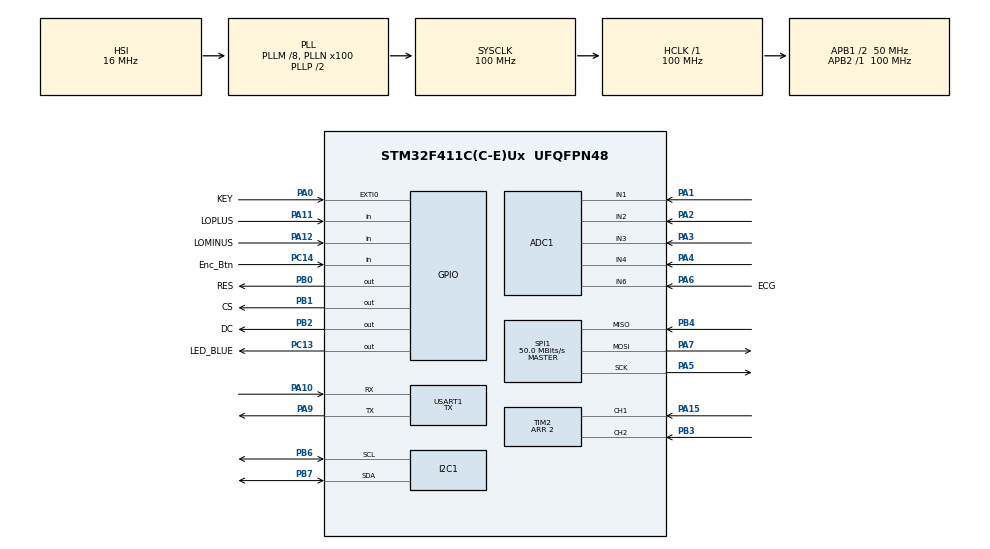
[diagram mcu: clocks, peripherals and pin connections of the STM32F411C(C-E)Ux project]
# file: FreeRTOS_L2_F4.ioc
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ADC1.Channel-0\#ChannelRegularConversion=ADC_CHANNEL_6
ADC1.Channel-11\#ChannelInjectedConversion=ADC_CHANNEL_1
ADC1.Channel-12\#ChannelInjectedConversion=ADC_CHANNEL_2
ADC1.Channel-13\#ChannelInjectedConversion=ADC_CHANNEL_3
ADC1.Channel-14\#ChannelInjectedConversion=ADC_CHANNEL_4
ADC1.ContinuousConvMode=DISABLE
ADC1.DMAContinuousRequests=DISABLE
ADC1.InjNumberOfConversion=4
ADC1.InjectedOffset-11\#ChannelInjectedConversion=0
ADC1.InjectedOffset-12\#ChannelInjectedConversion=0
ADC1.InjectedOffset-13\#ChannelInjectedConversion=0
ADC1.InjectedOffset-14\#ChannelInjectedConversion=0
ADC1.InjectedRank-11\#ChannelInjectedConversion=1
ADC1.InjectedRank-12\#ChannelInjectedConversion=2
ADC1.InjectedRank-13\#ChannelInjectedConversion=3
ADC1.InjectedRank-14\#ChannelInjectedConversion=4
ADC1.NbrOfConversion=1
ADC1.NbrOfConversionFlag=1
ADC1.Rank-0\#ChannelRegularConversion=1
ADC1.SamplingTime-0\#ChannelRegularConversion=ADC_SAMPLETIME_3CYCLES
ADC1.SamplingTime-11\#ChannelInjectedConversion=ADC_SAMPLETIME_3CYCLES
ADC1.SamplingTime-12\#ChannelInjectedConversion=ADC_SAMPLETIME_3CYCLES
ADC1.SamplingTime-13\#ChannelInjectedConversion=ADC_SAMPLETIME_3CYCLES
ADC1.SamplingTime-14\#ChannelInjectedConversion=ADC_SAMPLETIME_3CYCLES
ADC1.ScanConvMode=ENABLE
ADC1.master=1
FREERTOS.Queues01=QueueEN,8,uint8_t,0,Dynamic,NULL,NULL;QueueADC,20,uint16_t,0,Dynamic,NULL,NULL
FREERTOS.Tasks01=ReadEncoderTask,24,256,StartReadEncoderTask,Default,NULL,Dynamic,NULL,NULL;ReadADCTask,24,256,StartReadADCTask,Default,NULL,Dynamic,NULL,NULL;DisplayTask,24,256,StartDisplayTask,Default,NULL,Dynamic,NULL,NULL;MLX90614Task,24,128,StartMLX90614Task,Default,NULL,Dynamic,NULL,NULL;ECGTask,24,128,StartECGTask,Default,NULL,Dynamic,NULL,NULL
FREERTOS.configUSE_NEWLIB_REENTRANT=1
I2C1.I2C_Mode=I2C_Standard
Mcu.Family=STM32F4
Mcu.Name=STM32F411C(C-E)Ux
Mcu.Package=UFQFPN48
NVIC.EXTI0_IRQn=true\:5\:0\:false\:false\:true\:true\:true\:true\:true
NVIC.PriorityGroup=NVIC_PRIORITYGROUP_4
NVIC.TIM5_IRQn=true\:15\:0\:false\:false\:true\:false\:false\:true\:true
NVIC.TimeBase=TIM5_IRQn
NVIC.TimeBaseIP=TIM5
PA0-WKUP.GPIO_Label=KEY
PA0-WKUP.Signal=GPXTI0
PA1.Signal=ADCx_IN1
PA10.Mode=Asynchronous
PA10.Signal=USART1_RX
PA11.GPIO_Label=LOPLUS
PA11.Signal=GPIO_Input
PA12.GPIO_Label=LOMINUS
PA12.Signal=GPIO_Input
PA13.Mode=Serial_Wire
PA13.Signal=SYS_JTMS-SWDIO
PA14.Mode=Serial_Wire
PA14.Signal=SYS_JTCK-SWCLK
PA15.Signal=S_TIM2_CH1_ETR
PA2.Signal=ADCx_IN2
PA3.Signal=ADCx_IN3
PA4.Signal=ADCx_IN4
PA5.Mode=Full_Duplex_Master
PA5.Signal=SPI1_SCK
PA6.GPIO_Label=ECG
PA6.Signal=ADCx_IN6
PA7.Mode=Full_Duplex_Master
PA7.Signal=SPI1_MOSI
PA9.Mode=Asynchronous
PA9.Signal=USART1_TX
PB0.GPIO_Label=RES
PB0.Signal=GPIO_Output
PB1.GPIO_Label=CS
PB1.Signal=GPIO_Output
PB2.GPIO_Label=DC
PB2.Signal=GPIO_Output
PB3.Signal=S_TIM2_CH2
PB4.Mode=Full_Duplex_Master
PB4.Signal=SPI1_MISO
PB6.Mode=I2C
PB6.Signal=I2C1_SCL
PB7.Mode=I2C
PB7.Signal=I2C1_SDA
PC13-ANTI_TAMP.GPIO_Label=LED_BLUE
PC13-ANTI_TAMP.Signal=GPIO_Output
PC14-OSC32_IN.GPIO_Label=Enc_Btn
PC14-OSC32_IN.Signal=GPIO_Input
ProjectManager.HeapSize=0x200
ProjectManager.StackSize=0x400
ProjectManager.TargetToolchain=STM32CubeIDE
RCC.48MHZClocksFreq_Value=50000000
RCC.AHBFreq_Value=100000000
RCC.APB1CLKDivider=RCC_HCLK_DIV2
RCC.APB1Freq_Value=50000000
RCC.APB1TimFreq_Value=100000000
RCC.APB2Freq_Value=100000000
RCC.APB2TimFreq_Value=100000000
RCC.CortexFreq_Value=100000000
RCC.HCLKFreq_Value=100000000
RCC.HSE_VALUE=25000000
RCC.HSI_VALUE=16000000
RCC.LSE_VALUE=32768
RCC.PLLM=8
RCC.PLLN=100
RCC.SYSCLKFreq_VALUE=100000000
RCC.SYSCLKSource=RCC_SYSCLKSOURCE_PLLCLK
RCC.VCOOutputFreq_Value=200000000
SH.ADCx_IN1.0=ADC1_IN1,IN1
SH.ADCx_IN2.0=ADC1_IN2,IN2
SH.ADCx_IN3.0=ADC1_IN3,IN3
SH.ADCx_IN4.0=ADC1_IN4,IN4
SH.ADCx_IN6.0=ADC1_IN6,IN6
SH.S_TIM2_CH1_ETR.0=TIM2_CH1,Encoder_Interface
SH.S_TIM2_CH2.0=TIM2_CH2,Encoder_Interface
SPI1.BaudRatePrescaler=SPI_BAUDRATEPRESCALER_2
SPI1.CalculateBaudRate=50.0 MBits/s
SPI1.Direction=SPI_DIRECTION_2LINES
SPI1.Mode=SPI_MODE_MASTER
SPI1.VirtualType=VM_MASTER
TIM2.EncoderMode=TIM_ENCODERMODE_TI1
TIM2.IC1Filter=0
TIM2.IC2Filter=0
TIM2.Period=2
USART1.Mode=MODE_TX
USART1.VirtualMode=VM_ASYNC
VP_FREERTOS_VS_CMSIS_V2.Mode=CMSIS_V2
VP_SYS_VS_tim5.Mode=TIM5
board=custom

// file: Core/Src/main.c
/* USER CODE BEGIN Header */
/**
 ******************************************************************************
 * @file           : main.c
 * @brief          : Main program body
 ******************************************************************************
 * @attention
 *
 * Copyright (c) 2023 STMicroelectronics.
 * All rights reserved.
 *
 * This software is licensed under terms that can be found in the LICENSE file
 * in the root directory of this software component.
 * If no LICENSE file comes with this software, it is provided AS-IS.
 *
 ******************************************************************************
 */
/* USER CODE END Header */
#include "main.h"
#include "cmsis_os.h"
#include "adc.h"
#include "i2c.h"
#include "spi.h"
#include "tim.h"
#include "usart.h"
#include "gpio.h"

/* USER CODE BEGIN PD */
void Task_action(char ms);
/* USER CODE END PD */

/* USER CODE BEGIN PV */
osStatus_t r_state;
sht3x_handle_t handle = { .i2c_handle = &hi2c1, .device_address =
SHT3X_I2C_DEVICE_ADDRESS_ADDR_PIN_LOW }; // handler for humiditi and temperature
/* USER CODE END PV */

void SystemClock_Config(void);
void MX_FREERTOS_Init(void);

int main(void)
{

  /* MCU Configuration--------------------------------------------------------*/

  /* Reset of all peripherals, Initializes the Flash interface and the Systick. */
  HAL_Init();

  /* Configure the system clock */
  SystemClock_Config();

  /* Initialize all configured peripherals */
  MX_GPIO_Init();
  MX_USART1_UART_Init();
  MX_TIM2_Init();
  MX_SPI1_Init();
  MX_I2C1_Init();
  MX_ADC1_Init();
  /* USER CODE BEGIN 2 */
	RetargetInit(&huart1);

	initMLX90614(&hi2c1, MLX90614_DEFAULT_SA);

	if (HAL_OK != HAL_TIM_Encoder_Start(&htim2, TIM_CHANNEL_ALL))
		Error_Handler();

	if (HAL_OK != ST7735_Init())
		Error_Handler();

	if (!sht3x_init(&handle))
		Error_Handler();

//	HAL_ADCEx_Calibration_Start(&hadc1);

  /* USER CODE END 2 */

  /* Init scheduler */
  osKernelInitialize();  /* Call init function for freertos objects (in freertos.c) */
  MX_FREERTOS_Init();

  /* Start scheduler */
  osKernelStart();

  /* We should never get here as control is now taken by the scheduler */
  /* Infinite loop */
	while (1) {

	}
}

void SystemClock_Config(void)
{
  RCC_OscInitTypeDef RCC_OscInitStruct = {0};
  RCC_ClkInitTypeDef RCC_ClkInitStruct = {0};

  /** Configure the main internal regulator output voltage
  */
  __HAL_RCC_PWR_CLK_ENABLE();
  __HAL_PWR_VOLTAGESCALING_CONFIG(PWR_REGULATOR_VOLTAGE_SCALE1);

  /** Initializes the RCC Oscillators according to the specified parameters
  * in the RCC_OscInitTypeDef structure.
  */
  RCC_OscInitStruct.OscillatorType = RCC_OSCILLATORTYPE_HSI;
  RCC_OscInitStruct.HSIState = RCC_HSI_ON;
  RCC_OscInitStruct.HSICalibrationValue = RCC_HSICALIBRATION_DEFAULT;
  RCC_OscInitStruct.PLL.PLLState = RCC_PLL_ON;
  RCC_OscInitStruct.PLL.PLLSource = RCC_PLLSOURCE_HSI;
  RCC_OscInitStruct.PLL.PLLM = 8;
  RCC_OscInitStruct.PLL.PLLN = 100;
  RCC_OscInitStruct.PLL.PLLP = RCC_PLLP_DIV2;
  RCC_OscInitStruct.PLL.PLLQ = 4;
  if (HAL_RCC_OscConfig(&RCC_OscInitStruct) != HAL_OK)
  {
    Error_Handler();
  }

  /** Initializes the CPU, AHB and APB buses clocks
  */
  RCC_ClkInitStruct.ClockType = RCC_CLOCKTYPE_HCLK|RCC_CLOCKTYPE_SYSCLK
                              |RCC_CLOCKTYPE_PCLK1|RCC_CLOCKTYPE_PCLK2;
  RCC_ClkInitStruct.SYSCLKSource = RCC_SYSCLKSOURCE_PLLCLK;
  RCC_ClkInitStruct.AHBCLKDivider = RCC_SYSCLK_DIV1;
  RCC_ClkInitStruct.APB1CLKDivider = RCC_HCLK_DIV2;
  RCC_ClkInitStruct.APB2CLKDivider = RCC_HCLK_DIV1;

  if (HAL_RCC_ClockConfig(&RCC_ClkInitStruct, FLASH_LATENCY_3) != HAL_OK)
  {
    Error_Handler();
  }
}

/* USER CODE BEGIN 4 */
void Task_action(char ms) {
	uint8_t data[] = { ms, '\n', '\r' };
	HAL_UART_Transmit(&huart1, data, 3, 2);
}
/* USER CODE END 4 */

void HAL_TIM_PeriodElapsedCallback(TIM_HandleTypeDef *htim)
{
  if (htim->Instance == TIM5) {
    HAL_IncTick();
  }
}

void Error_Handler(void)
{
	__disable_irq();
	while (1) {
	}
}

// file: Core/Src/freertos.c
/* USER CODE BEGIN Header */
/**
 ******************************************************************************
 * File Name          : freertos.c
 * Description        : Code for freertos applications
 ******************************************************************************
 * @attention
 *
 * Copyright (c) 2023 STMicroelectronics.
 * All rights reserved.
 *
 * This software is licensed under terms that can be found in the LICENSE file
 * in the root directory of this software component.
 * If no LICENSE file comes with this software, it is provided AS-IS.
 *
 ******************************************************************************
 */
/* USER CODE END Header */

#include "FreeRTOS.h"
#include "task.h"
#include "main.h"
#include "cmsis_os.h"

/* USER CODE BEGIN PTD */
/* MLX90614 I2C address */
#define MLX90614_ADDRESS 0x5A

/* MLX90614 memory map */
#define MLX90614_TEMP_AMBIENT 0x06
#define MLX90614_TEMP_OBJECT1 0x07
/* USER CODE END PTD */

/* USER CODE BEGIN Variables */
extern I2C_HandleTypeDef hi2c1;
extern sht3x_handle_t handle;
extern ADC_HandleTypeDef hadc1;
ADC_ChannelConfTypeDef sConfig;

struct data {
	uint8_t encoder, lastEncoder;
	uint16_t temperature, humidity, lastTemperature, lastHumidity;
	uint16_t MQ3, MQ4, MQ7, MQ135, lastMQ3, lastMQ4, lastMQ7, lastMQ135; // Alcohol CH4 CO Air
	uint32_t ECG, startTime;
	float handTemp, lastHandTemp;
} Data = { .encoder = 0 };

struct flag {
	uint8_t temp, humy, gas, hand, ecg, firstECG;
} Flag;
//= { .temp = 0, .humy = 0, .gas = 0, .hand = 0 };

struct send {
	uint16_t temp, humy, MQ3, MQ4, MQ7, MQ135, handTemp;
} sendProtocol;

/* USER CODE END Variables */
/* Definitions for ReadEncoderTask */
osThreadId_t ReadEncoderTaskHandle;
const osThreadAttr_t ReadEncoderTask_attributes = { .name = "ReadEncoderTask",
		.stack_size = 256 * 4, .priority = (osPriority_t) osPriorityNormal, };
/* Definitions for ReadADCTask */
osThreadId_t ReadADCTaskHandle;
const osThreadAttr_t ReadADCTask_attributes = { .name = "ReadADCTask",
		.stack_size = 256 * 4, .priority = (osPriority_t) osPriorityNormal, };
/* Definitions for DisplayTask */
osThreadId_t DisplayTaskHandle;
const osThreadAttr_t DisplayTask_attributes = { .name = "DisplayTask",
		.stack_size = 256 * 4, .priority = (osPriority_t) osPriorityNormal, };
/* Definitions for MLX90614Task */
osThreadId_t MLX90614TaskHandle;
const osThreadAttr_t MLX90614Task_attributes = { .name = "MLX90614Task",
		.stack_size = 128 * 4, .priority = (osPriority_t) osPriorityNormal, };
/* Definitions for ECGTask */
osThreadId_t ECGTaskHandle;
const osThreadAttr_t ECGTask_attributes = { .name = "ECGTask", .stack_size = 128
		* 4, .priority = (osPriority_t) osPriorityNormal, };
/* Definitions for QueueEN */
osMessageQueueId_t QueueENHandle;
const osMessageQueueAttr_t QueueEN_attributes = { .name = "QueueEN" };
/* Definitions for QueueADC */
osMessageQueueId_t QueueADCHandle;
const osMessageQueueAttr_t QueueADC_attributes = { .name = "QueueADC" };

void StartReadEncoderTask(void *argument);
void StartReadADCTask(void *argument);
void StartDisplayTask(void *argument);
void StartMLX90614Task(void *argument);
void StartECGTask(void *argument);

void MX_FREERTOS_Init(void); /* (MISRA C 2004 rule 8.1) */

void MX_FREERTOS_Init(void) {

	/* Create the queue(s) */
	/* creation of QueueEN */
	QueueENHandle = osMessageQueueNew(8, sizeof(uint8_t), &QueueEN_attributes);

	/* creation of QueueADC */
	QueueADCHandle = osMessageQueueNew(20, sizeof(uint16_t),
			&QueueADC_attributes);

	/* Create the thread(s) */
	/* creation of ReadEncoderTask */
	ReadEncoderTaskHandle = osThreadNew(StartReadEncoderTask, NULL,
			&ReadEncoderTask_attributes);

	/* creation of ReadADCTask */
	ReadADCTaskHandle = osThreadNew(StartReadADCTask, NULL,
			&ReadADCTask_attributes);

	/* creation of DisplayTask */
	DisplayTaskHandle = osThreadNew(StartDisplayTask, NULL,
			&DisplayTask_attributes);

	/* creation of MLX90614Task */
	MLX90614TaskHandle = osThreadNew(StartMLX90614Task, NULL,
			&MLX90614Task_attributes);

	/* creation of ECGTask */
	ECGTaskHandle = osThreadNew(StartECGTask, NULL, &ECGTask_attributes);

}

void StartReadEncoderTask(void *argument) {
	/* USER CODE BEGIN StartReadEncoderTask */
	float temperature, humidity;
	/* Infinite loop */
	for (;;) {
		Data.encoder = TIM2->CNT;

		sht3x_read_temperature_and_humidity(&handle, &temperature, &humidity);
		Data.temperature = (uint16_t) temperature;
		Data.humidity = (uint16_t) humidity;

		if (HAL_GPIO_ReadPin(Enc_Btn_GPIO_Port, Enc_Btn_Pin) != GPIO_PIN_SET) {
			if (Flag.temp == 0) {
				checkBTN(0, Data.encoder);
				sendProtocol.temp = Data.temperature;
				Flag.temp = 1;
			} else if (Flag.humy == 0) {
				checkBTN(1, Data.encoder);
				sendProtocol.humy = Data.humidity;
				Flag.humy = 1;
			} else if (Flag.gas == 0) {
				checkBTN(2, Data.encoder);
				sendProtocol.MQ3 = Data.MQ3;
				sendProtocol.MQ4 = Data.MQ4;
				sendProtocol.MQ7 = Data.MQ7;
				sendProtocol.MQ135 = Data.MQ135;
				Flag.gas = 1;
			} else if (Flag.hand == 0) {
				checkBTN(3, Data.encoder);
				sendProtocol.handTemp = Data.handTemp;
				Flag.hand = 1;
			} else if (Flag.ecg == 0) {
				Flag.ecg = 1;
				Data.startTime = HAL_GetTick();

				checkBTN(4, Data.encoder);
			} else if (Flag.ecg == 2) {
				checkBTN(5, Data.encoder);

				Flag.temp = 0;
				Flag.humy = 0;
				Flag.gas = 0;
				Flag.hand = 0;
				Flag.ecg = 0;
			}
		}
		osDelay(150);
	}
	/* USER CODE END StartReadEncoderTask */
}

void StartReadADCTask(void *argument) {
	/* USER CODE BEGIN StartReadADCTask */
	/* Infinite loop */
	for (;;) {
		HAL_ADCEx_InjectedStart(&hadc1);
		HAL_ADC_PollForConversion(&hadc1, 100);

		Data.MQ3 = HAL_ADCEx_InjectedGetValue(&hadc1, ADC_INJECTED_RANK_1);
		Data.MQ4 = HAL_ADCEx_InjectedGetValue(&hadc1, ADC_INJECTED_RANK_2);
		Data.MQ7 = HAL_ADCEx_InjectedGetValue(&hadc1, ADC_INJECTED_RANK_3);
		Data.MQ135 = HAL_ADCEx_InjectedGetValue(&hadc1, ADC_INJECTED_RANK_4);

		HAL_ADCEx_InjectedStop(&hadc1);
		osDelay(1000);
	}
	/* USER CODE END StartReadADCTask */
}

void StartDisplayTask(void *argument) {
	/* USER CODE BEGIN StartDisplayTask */
	/* Infinite loop */
	for (;;) {

		switch (Data.encoder) {
		case 0:
			if (Data.lastEncoder != Data.encoder) {
				Data.lastTemperature = Data.temperature;
				Data.lastHumidity = Data.humidity;

				Display1SHT3X_Init(Data.temperature, Data.humidity);

			} else if (Data.lastTemperature != Data.temperature
					|| Data.lastHumidity != Data.humidity) {
				Data.lastTemperature = Data.temperature;
				Data.lastHumidity = Data.humidity;

				Display1SHT3X(Data.temperature, Data.humidity);
			}
			Data.lastEncoder = 0;
			break;
		case 1:
			if (Data.lastEncoder != Data.encoder) {
				Data.lastMQ3 = Data.MQ3;
				Data.lastMQ4 = Data.MQ4;
				Data.lastMQ7 = Data.MQ7;
				Data.lastMQ135 = Data.MQ135;

				Display2Gas_Init(Data.MQ3, Data.MQ3, Data.MQ3, Data.MQ3);
			} else if (Data.MQ3 != Data.lastMQ3 || Data.lastMQ4 != Data.MQ4
					|| Data.lastMQ7 != Data.MQ7
					|| Data.lastMQ135 != Data.MQ135) {
				Data.lastMQ3 = Data.MQ3;
				Data.lastMQ4 = Data.MQ4;

				Display2Gas(Data.MQ3, Data.MQ4, Data.MQ7, Data.MQ135);
			}
			Data.lastEncoder = 1;
			break;
		case 2:
			if (Data.lastEncoder != Data.encoder) {
				Data.lastHandTemp = Data.handTemp;

				Display3MLX_Init(Data.handTemp);
			} else if (Data.lastHandTemp != Data.handTemp) {
				Display3MLX(Data.handTemp);
			}
			Data.lastEncoder = 2;
			break;
		case 3:
			if (Data.lastEncoder != Data.encoder) {
				Data.lastHandTemp = Data.handTemp;

				Display3MLX_Init(Data.handTemp);
			} else if (Data.lastHandTemp != Data.handTemp) {
				Display3MLX(Data.handTemp);
			}
			Data.lastEncoder = 2;
			break;
		}
		osDelay(100);
	}
	/* USER CODE END StartDisplayTask */
}

void StartMLX90614Task(void *argument) {
	/* USER CODE BEGIN StartMLX90614Task */
	uint8_t status;
	float handTemTemperature;
	/* Infinite loop */
	for (;;) {
		status = MLX90614_ReadTemp(MLX90614_TOBJ1, &handTemTemperature);
		if (status == 1)
			Data.handTemp = handTemTemperature;
		osDelay(1000);
	}
	/* USER CODE END StartMLX90614Task */
}

void StartECGTask(void *argument) {
	/* USER CODE BEGIN StartECGTask */

	/* Infinite loop */
	for (;;) {
		if (Flag.hand == 1) {
			printf(
					"{\"TempOut\":%i,\"HumyOut\":%i,\"MQ3\":%i,\"MQ4\":%i,\"MQ7\":%i,\"MQ135\":%i,\"HandTemp\":%i,\"ecg\":\"",
					sendProtocol.temp, sendProtocol.humy, sendProtocol.MQ3,
					sendProtocol.MQ4, sendProtocol.MQ7, sendProtocol.MQ135,
					sendProtocol.handTemp);
			Flag.hand = 2;
		}
		if (Flag.ecg == 1 && Flag.hand == 2) {
			sConfig.Channel = ADC_CHANNEL_6;
			HAL_ADC_ConfigChannel(&hadc1, &sConfig);

			HAL_ADC_Start(&hadc1);

			if (HAL_GPIO_ReadPin(LOPLUS_GPIO_Port, LOPLUS_Pin) == GPIO_PIN_RESET
					&& HAL_GPIO_ReadPin(LOMINUS_GPIO_Port,
					LOMINUS_Pin) == GPIO_PIN_RESET) {
				if (HAL_ADC_PollForConversion(&hadc1, 1) == HAL_OK) {

					Data.ECG = HAL_ADC_GetValue(&hadc1);
					if (Flag.firstECG == 0) {
						printf("%li", Data.ECG);
						Flag.firstECG = 1;
					}
					printf(",%li", Data.ECG);
					if (HAL_GetTick() - Data.startTime > 5000) {
						printf("\"}\n");
						Flag.firstECG = 0;
						Flag.ecg = 2;
					}
				}
			}
		}

		osDelay(2);
	}
	/* USER CODE END StartECGTask */
}
